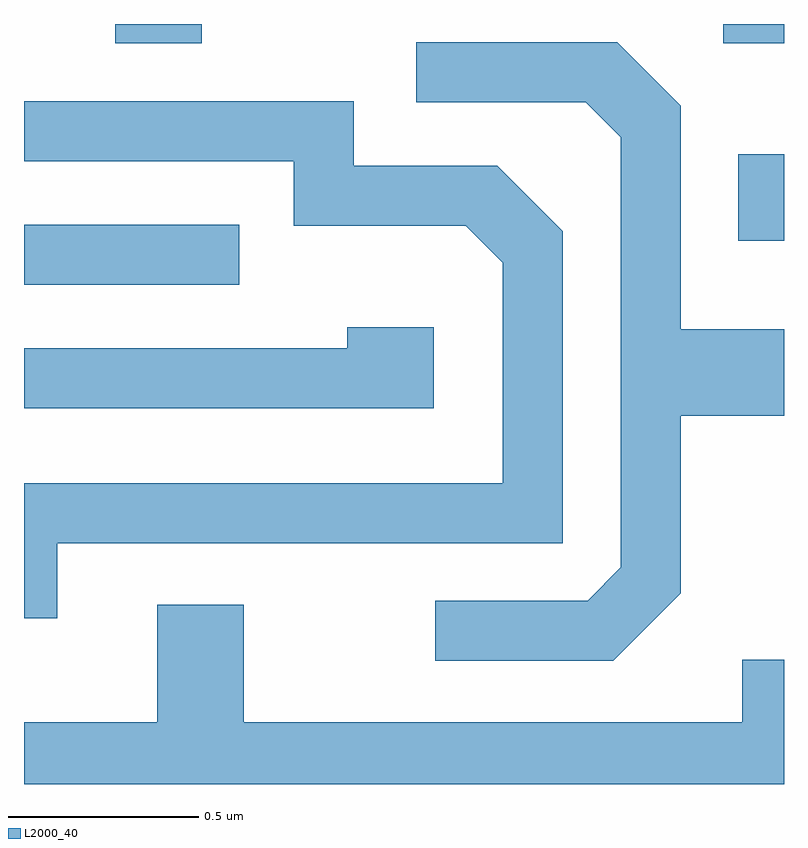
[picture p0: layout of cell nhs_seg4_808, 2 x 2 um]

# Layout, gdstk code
import gdstk
lib = gdstk.Library(unit=1e-6, precision=1e-09)
def R(c, l, rs):  # rectangles x0, y0, x1, y1
    for r in rs: c.add(gdstk.rectangle(r[:2], r[2:], *l))
def P(c, l, *ps):  # polygons
    for p in ps: c.add(gdstk.Polygon(p, *l))
L2000_40 = (2000, 40)

nhs_seg4_808 = lib.new_cell('nhs_seg4_808')
R(nhs_seg4_808, L2000_40, [(190.611,1378.296,191.178,1378.454), (192.491,1378.411,192.611,1378.639), (190.851,1378.931,191.079,1378.982), (192.451,1378.931,192.611,1378.982)])
P(nhs_seg4_808, L2000_40, [(192.339,1377.484),(192.339,1377.951),(192.611,1377.951),(192.611,1378.179),(192.339,1378.179),(192.339,1378.767),(192.172,1378.934),(191.643,1378.934),(191.643,1378.776),(192.089,1378.776),(192.181,1378.684),(192.181,1377.552),(192.094,1377.464),(191.693,1377.464),(191.693,1377.306),(192.162,1377.306)],
  [(190.699,1377.616),(192.029,1377.616),(192.029,1378.437),(191.857,1378.609),(191.479,1378.609),(191.479,1378.779),(190.611,1378.779),(190.611,1378.621),(191.321,1378.621),(191.321,1378.451),(191.774,1378.451),(191.871,1378.354),(191.871,1377.774),(190.611,1377.774),(190.611,1377.418),(190.699,1377.418)],
  [(191.689,1378.184),(191.461,1378.184),(191.461,1378.129),(190.611,1378.129),(190.611,1377.971),(191.689,1377.971)],
  [(192.611,1377.309),(192.501,1377.309),(192.501,1377.144),(191.189,1377.144),(191.189,1377.454),(190.961,1377.454),(190.961,1377.144),(190.611,1377.144),(190.611,1376.982),(192.611,1376.982)])

lib.write_gds('nhs_seg4_808.gds')
